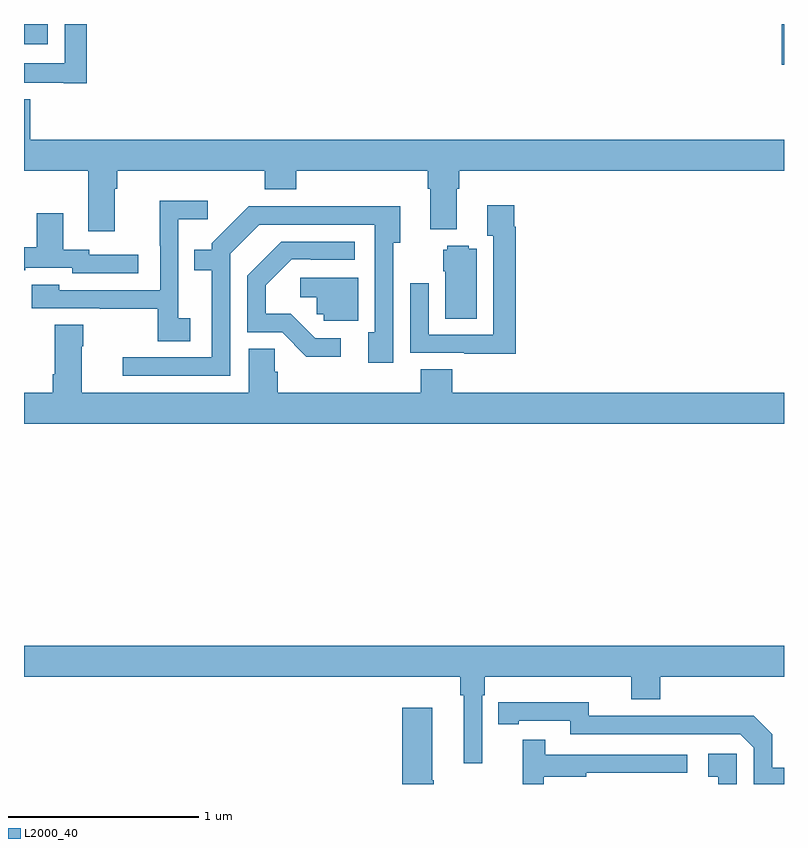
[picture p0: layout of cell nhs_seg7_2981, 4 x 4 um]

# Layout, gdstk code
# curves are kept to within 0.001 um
import gdstk
lib = gdstk.Library(unit=1e-6, precision=1e-09)
def R(c, l, rs):  # rectangles x0, y0, x1, y1
    for r in rs: c.add(gdstk.rectangle(r[:2], r[2:], *l))
def P(c, l, *ps):  # polygons
    for p in ps: c.add(gdstk.Polygon(p, *l))
L2000_40 = (2000, 40)

nhs_seg7_2981 = lib.new_cell('nhs_seg7_2981')
R(nhs_seg7_2981, L2000_40, [(304.988,1055.786,305,1056), (301,1055.894,301.126,1056)])
P(nhs_seg7_2981, L2000_40, [(301.331,1056),(301.215,1056),(301.215,1055.794),(301,1055.794),(301,1055.69),(301.208,1055.69),(301.208,1055.688),(301.331,1055.688)],
  [(301,1055.605),(301,1055.228),(301.337,1055.228),(301.337,1054.908),(301.477,1054.908),(301.477,1055.132),(301.49,1055.132),(301.49,1055.228),(302.267,1055.228),(302.267,1055.129),(302.432,1055.129),(302.432,1055.228),(303.125,1055.228),(303.125,1055.132),(303.137,1055.132),(303.137,1054.919),(303.277,1054.919),(303.277,1055.132),(303.29,1055.132),(303.29,1055.228),(305,1055.228),(305,1055.392),(301.034,1055.392),(301.034,1055.605)],
  [(301.876,1054.452),(301.812,1054.452),(301.812,1054.973),(301.966,1054.973),(301.966,1055.071),(301.714,1055.071),(301.714,1054.832),(301.716,1054.832),(301.716,1054.599),(301.185,1054.599),(301.185,1054.627),(301.041,1054.627),(301.041,1054.503),(301.399,1054.503),(301.399,1054.501),(301.704,1054.501),(301.704,1054.33),(301.876,1054.33)],
  [(303.587,1054.934),(303.58,1054.934),(303.58,1055.047),(303.437,1055.047),(303.437,1054.886),(303.471,1054.886),(303.471,1054.365),(303.129,1054.365),(303.129,1054.636),(303.033,1054.636),(303.033,1054.269),(303.317,1054.269),(303.317,1054.265),(303.587,1054.265)],
  [(302.085,1054.791),(302.238,1054.944),(302.847,1054.944),(302.847,1054.378),(302.813,1054.378),(302.813,1054.218),(302.943,1054.218),(302.943,1054.85),(302.98,1054.85),(302.98,1055.042),(302.515,1055.042),(302.515,1055.04),(302.184,1055.04),(301.989,1054.845),(301.989,1054.813),(301.897,1054.813),(301.897,1054.704),(301.988,1054.704),(301.988,1054.245),(301.521,1054.245),(301.521,1054.149),(302.085,1054.149)],
  [(301.6,1054.785),(301.344,1054.785),(301.344,1054.812),(301.207,1054.812),(301.207,1055.005),(301.067,1055.005),(301.067,1054.825),(301,1054.825),(301,1054.704),(301.006,1054.704),(301.006,1054.716),(301.254,1054.716),(301.254,1054.689),(301.6,1054.689)],
  [(302.668,1054.347),(302.532,1054.347),(302.405,1054.474),(302.272,1054.474),(302.272,1054.624),(302.409,1054.761),(302.509,1054.761),(302.509,1054.758),(302.74,1054.758),(302.74,1054.854),(302.354,1054.854),(302.175,1054.675),(302.175,1054.377),(302.358,1054.377),(302.486,1054.25),(302.668,1054.25)],
  [(303.382,1054.816),(303.342,1054.816),(303.342,1054.834),(303.228,1054.834),(303.228,1054.812),(303.206,1054.812),(303.206,1054.698),(303.218,1054.698),(303.218,1054.45),(303.382,1054.45)],
  [(302.758,1054.665),(302.454,1054.665),(302.454,1054.562),(302.541,1054.562),(302.541,1054.473),(302.577,1054.473),(302.577,1054.437),(302.758,1054.437)],
  [(305,1054.06),(303.254,1054.06),(303.254,1054.184),(303.089,1054.184),(303.089,1054.06),(302.336,1054.06),(302.336,1054.17),(302.321,1054.17),(302.321,1054.292),(302.183,1054.292),(302.183,1054.06),(301.303,1054.06),(301.303,1054.304),(301.311,1054.304),(301.311,1054.417),(301.163,1054.417),(301.163,1054.156),(301.151,1054.156),(301.151,1054.06),(301,1054.06),(301,1053.896),(305,1053.896)],
  [(301,1052.564),(303.295,1052.564),(303.295,1052.468),(303.314,1052.468),(303.314,1052.109),(303.411,1052.109),(303.411,1052.468),(303.425,1052.468),(303.425,1052.564),(304.196,1052.564),(304.196,1052.447),(304.349,1052.447),(304.349,1052.564),(305,1052.564),(305,1052.728),(301,1052.728)],
  [(305,1052.085),(304.938,1052.085),(304.938,1052.262),(304.84,1052.36),(304.432,1052.36),(304.432,1052.358),(303.972,1052.358),(303.972,1052.431),(303.496,1052.43),(303.496,1052.314),(303.604,1052.314),(303.604,1052.334),(303.876,1052.334),(303.876,1052.262),(304.77,1052.262),(304.842,1052.19),(304.842,1052),(305,1052)],
  [(303.156,1052.021),(303.148,1052.021),(303.148,1052.401),(302.99,1052.401),(302.99,1052),(303.156,1052)],
  [(303.736,1052.038),(303.959,1052.038),(303.959,1052.058),(304.492,1052.058),(304.492,1052.154),(303.743,1052.154),(303.743,1052.233),(303.626,1052.233),(303.626,1052),(303.736,1052)],
  [(304.752,1052.158),(304.602,1052.158),(304.602,1052.037),(304.655,1052.037),(304.655,1052),(304.752,1052)])

lib.write_gds('nhs_seg7_2981.gds')
